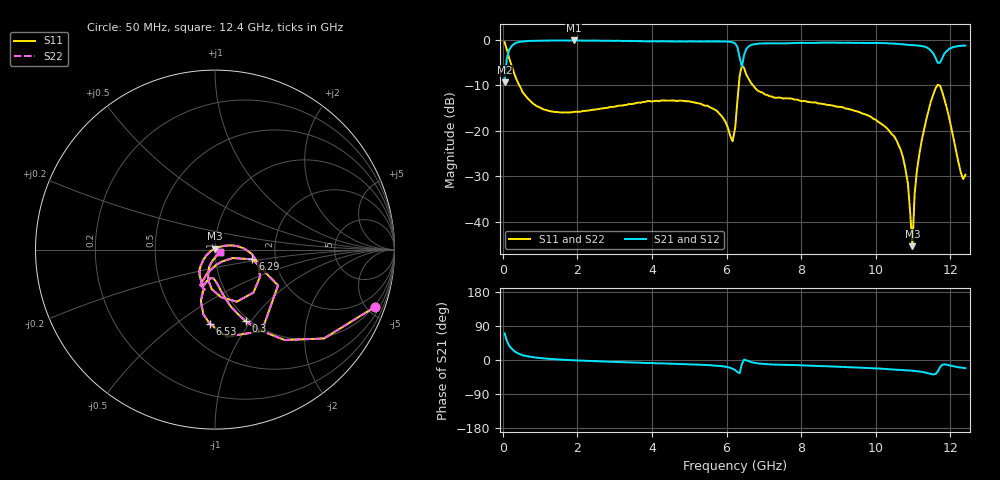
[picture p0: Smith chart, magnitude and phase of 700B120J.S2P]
!  American Technical Ceramics  Date:  3/13/98
!  One Norden Lane
!  Huntington Station,  NY.  11746-2102
!  Tel:  (516) 547-5700  Fax:  (516) 547-5748
!  Part Number  700B120J
!  Description: Porcelain, High Q, Low ESR
!  Application: Bypass, Coupling, Timing, Feedback
!  Tuning, Impedance Match, Blocking
# GHZ S DB R 50
! Freq  |S11|  S11 Ph  |S21|  S21 Ph  |S12|  S12 Ph  |S22|  S22 Ph
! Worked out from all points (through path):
!   201 points, 50 MHz to 12.4 GHz, reference 50 ohm
!   highest |S21| = -0.13 dB at 1.9 GHz (marker M1); lowest = -9.3 dB at 50 MHz (marker M2)
!   group delay of S21, straight-line fit = 8.58 ps
!   lowest |S11| = -45.3 dB at 10.98 GHz (marker M3), VSWR 1.01, Z = 50.1 + j0.527 ohm
!   |S11| at or under -10 dB: 444.5 MHz to 6.327 GHz (5.882 GHz wide, 174 % of centre); 6.708 GHz to 11.65 GHz (4.941 GHz wide, 53.8 % of centre); 11.7 GHz to end of sweep
!   |S22| runs from -45.3 to -0.5 dB; largest |S21 - S12| = 0
!   S11 on the Smith chart (normalised r, x): 50 MHz: 0.93, -5.57; 300 MHz: 0.96, -0.95; 6.29 GHz: 1.51, -0.17; 6.53 GHz: 0.67, -0.67; 12.4 GHz: 1.06, -0.03
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0.05  -0.49 -19.8  -9.34 70.3  -9.34 70.3  -0.49 -19.8
0.11  -2.12 -39.2  -4.10 50.6  -4.10 50.6  -2.12 -39.2
0.3  -7.23 -66.7  -0.92 24.3  -0.92 24.3  -7.23 -66.7
0.85  -14.23 -85.9  -0.20 6.9  -0.20 6.9  -14.23 -85.9
1.9  -15.82 -97.8  -0.13 -0.8  -0.13 -0.8  -15.82 -97.8
2.15  -15.62 -99.7  -0.15 -1.9  -0.15 -1.9  -15.62 -99.7
4.19  -13.49 -110.6  -0.33 -9.0  -0.33 -9.0  -13.49 -110.6
5.73  -15.54 -110.5  -0.34 -14.8  -0.34 -14.8  -15.54 -110.5
6.16  -22.29 -61.2  -0.53 -23.2  -0.53 -23.2  -22.29 -61.2
6.23  -19.31 -25.8  -0.79 -26.6  -0.79 -26.6  -19.31 -25.8
6.29  -13.36 -14.5  -1.56 -32.0  -1.56 -32.0  -13.36 -14.5
6.41  -5.62 -60.1  -5.90 -10.4  -5.90 -10.4  -5.62 -60.1
6.53  -7.66 -94.0  -1.97 -1.0  -1.97 -1.0  -7.66 -94.0
8.32  -13.75 -110.3  -0.65 -15.2  -0.65 -15.2  -13.75 -110.3
10.36  -20.00 -135.4  -0.80 -24.4  -0.80 -24.4  -20.00 -135.4
10.79  -28.26 -152.2  -1.03 -27.2  -1.03 -27.2  -28.26 -152.2
10.98  -45.34 76.2  -1.15 -28.3  -1.15 -28.3  -45.34 76.2
11.04  -33.84 36.3  -1.17 -28.9  -1.17 -28.9  -33.84 36.3
11.17  -24.92 21.8  -1.28 -30.3  -1.28 -30.3  -24.92 21.8
11.66  -9.86 -48.2  -5.06 -30.2  -5.06 -30.2  -9.86 -48.2
11.91  -15.24 -102.6  -2.40 -12.5  -2.40 -12.5  -15.24 -102.6
12.4  -29.62 -26.7  -1.25 -21.6  -1.25 -21.6  -29.62 -26.7
